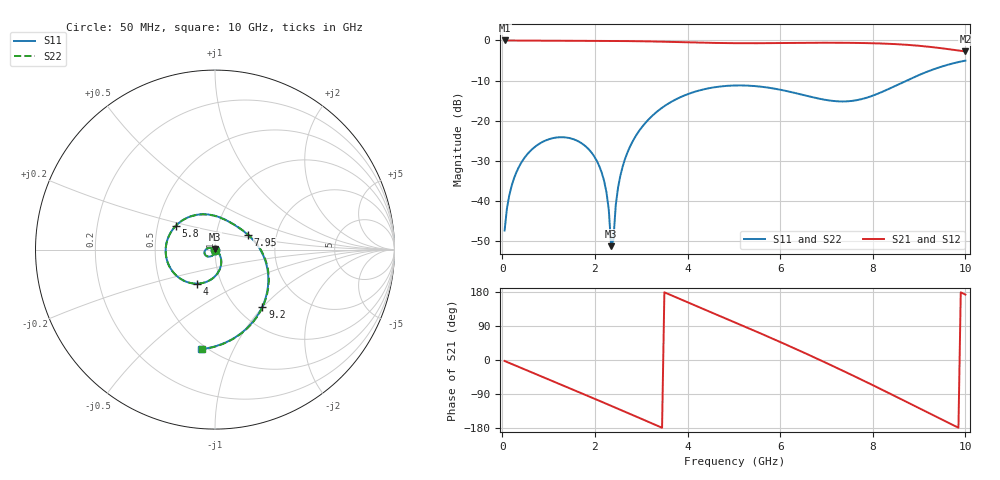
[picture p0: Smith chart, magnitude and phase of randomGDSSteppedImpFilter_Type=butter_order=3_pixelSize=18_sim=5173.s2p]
! freq	dB(S11)	phase(S11)	dB(S12)	phase(S12)
!  dB(S21)	phase(S21)	dB(S22)	phase(S22)
!S-par simulation data
#  GHz  S  DB  R 50
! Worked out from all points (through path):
!   200 points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, 50 MHz to 10 GHz, reference 50 ohm
!   highest |S21| = -0.02 dB at 50 MHz (marker M1); lowest = -2.8 dB at 10 GHz (marker M2)
!   group delay of S21, straight-line fit = 151 ps
!   lowest |S11| = -51.2 dB at 2.35 GHz (marker M3), VSWR 1.01, Z = 49.9 + j0.249 ohm
!   |S11| at or under -10 dB: start of sweep to 8.73 GHz
!   |S22| runs from -51.0 to -5.0 dB; largest |S21 - S12| = 0
!   S11 on the Smith chart (normalised r, x): 50 MHz: 1.00, -0.01; 4 GHz: 0.77, -0.30; 5.8 GHz: 0.62, +0.18; 7.95 GHz: 1.42, +0.25; 9.2 GHz: 1.29, -0.99; 10 GHz: 0.47, -0.76
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0.05  -47.30 -70.1  -0.02 -2.6  -0.02 -2.6  -47.30 -70.1
0.2  -36.26 -92.8  -0.03 -10.3  -0.03 -10.3  -36.25 -92.8
0.55  -28.21 -116.6  -0.06 -28.3  -0.06 -28.3  -28.21 -116.6
1.15  -24.21 -149.2  -0.10 -59.0  -0.10 -59.0  -24.21 -149.3
1.75  -25.90 179.0  -0.12 -89.8  -0.12 -89.8  -25.90 179.0
2.2  -35.04 153.1  -0.14 -113.1  -0.14 -113.1  -35.02 152.8
2.3  -42.18 143.0  -0.14 -118.3  -0.14 -118.3  -42.14 142.2
2.35  -51.21 114.8  -0.14 -120.9  -0.14 -120.9  -50.99 113.6
2.4  -49.53 -12.9  -0.15 -123.5  -0.15 -123.5  -49.47 -10.9
2.45  -41.00 -29.2  -0.15 -126.1  -0.15 -126.1  -41.01 -28.4
2.5  -36.61 -34.7  -0.15 -128.7  -0.15 -128.7  -36.62 -34.3
2.65  -29.52 -45.1  -0.17 -136.6  -0.17 -136.6  -29.52 -44.8
3.4  -17.19 -86.0  -0.31 -176.1  -0.31 -176.1  -17.19 -85.9
4  -13.40 -117.5  -0.48 152.4  -0.48 152.4  -13.40 -117.4
5.05  -11.21 -171.9  -0.70 97.8  -0.70 97.8  -11.21 -171.7
5.8  -11.86 148.5  -0.68 58.3  -0.68 58.3  -11.86 148.8
6.7  -14.14 98.2  -0.60 9.0  -0.60 9.0  -14.14 98.8
7.3  -15.19 63.0  -0.60 -25.2  -0.60 -25.2  -15.19 64.0
7.95  -13.96 24.6  -0.70 -63.3  -0.70 -63.3  -13.96 25.7
8.35  -12.06 0.9  -0.85 -87.4  -0.85 -87.4  -12.06 1.9
9.2  -7.68 -50.3  -1.57 -139.5  -1.57 -139.5  -7.68 -49.6
10  -5.04 -97.9  -2.76 172.6  -2.76 172.6  -5.04 -97.5
